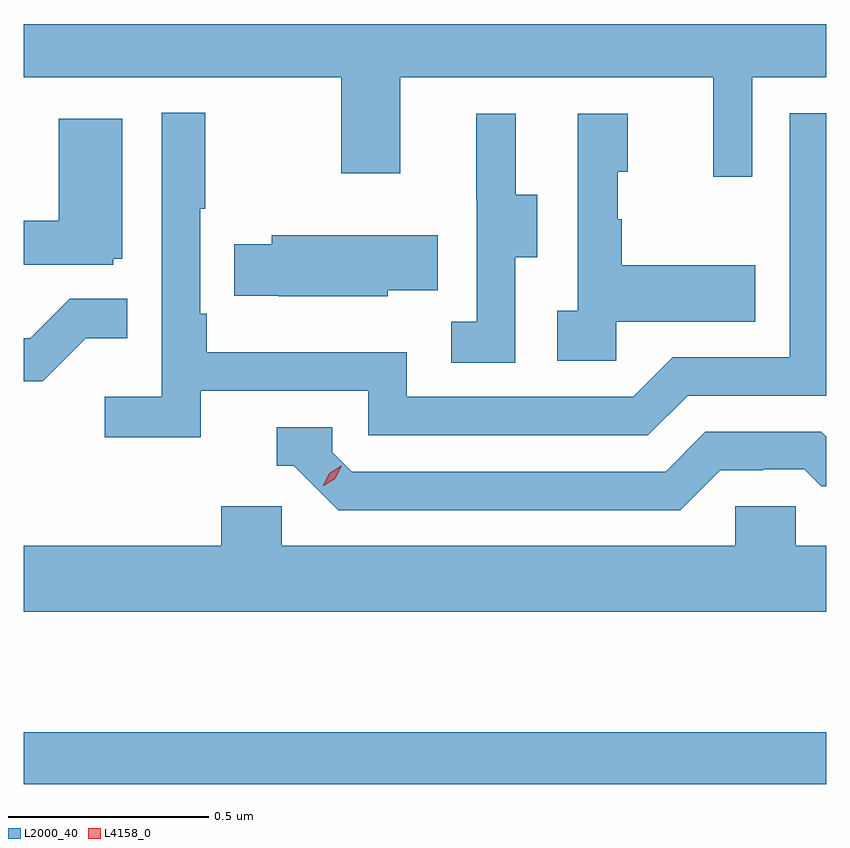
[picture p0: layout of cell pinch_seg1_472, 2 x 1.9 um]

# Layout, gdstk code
import gdstk
lib = gdstk.Library(unit=1e-6, precision=1e-09)
def R(c, l, rs):  # rectangles x0, y0, x1, y1
    for r in rs: c.add(gdstk.rectangle(r[:2], r[2:], *l))
def P(c, l, *ps):  # polygons
    for p in ps: c.add(gdstk.Polygon(p, *l))
L2000_40 = (2000, 40)
L4158_0 = (4158, 0)

pinch_seg1_472 = lib.new_cell('pinch_seg1_472')
R(pinch_seg1_472, L2000_40, [(1008.635,508.678,1010.635,508.807)])
P(pinch_seg1_472, L2000_40, [(1008.635,510.44),(1009.426,510.44),(1009.426,510.201),(1009.573,510.201),(1009.573,510.44),(1010.354,510.44),(1010.354,510.192),(1010.451,510.192),(1010.451,510.44),(1010.635,510.44),(1010.635,510.573),(1008.635,510.573)],
  [(1009.076,509.658),(1009.494,509.658),(1009.494,509.547),(1010.191,509.547),(1010.29,509.646),(1010.635,509.646),(1010.635,510.351),(1010.544,510.351),(1010.544,509.742),(1010.253,509.742),(1010.154,509.643),(1009.59,509.643),(1009.59,509.755),(1009.091,509.755),(1009.091,509.851),(1009.074,509.851),(1009.074,510.112),(1009.087,510.112),(1009.087,510.352),(1008.978,510.352),(1008.978,509.644),(1008.837,509.644),(1008.837,509.542),(1009.076,509.542)],
  [(1009.86,509.992),(1009.915,509.992),(1009.915,510.147),(1009.861,510.147),(1009.861,510.349),(1009.763,510.349),(1009.763,510.135),(1009.764,510.135),(1009.764,509.831),(1009.701,509.831),(1009.701,509.728),(1009.86,509.728)],
  [(1010.112,509.831),(1010.459,509.831),(1010.459,509.971),(1010.125,509.971),(1010.125,510.086),(1010.115,510.086),(1010.115,510.204),(1010.14,510.204),(1010.14,510.349),(1010.016,510.349),(1010.016,509.858),(1009.965,509.858),(1009.965,509.733),(1010.112,509.733)],
  [(1008.858,509.988),(1008.88,509.988),(1008.88,510.337),(1008.722,510.337),(1008.722,510.082),(1008.635,510.082),(1008.635,509.973),(1008.858,509.973)],
  [(1009.542,509.909),(1009.667,509.909),(1009.667,510.046),(1009.253,510.046),(1009.253,510.024),(1009.159,510.024),(1009.159,509.895),(1009.27,509.895),(1009.27,509.894),(1009.542,509.894)],
  [(1008.789,509.789),(1008.893,509.789),(1008.893,509.888),(1008.749,509.888),(1008.651,509.79),(1008.635,509.79),(1008.635,509.682),(1008.682,509.682)],
  [(1010.371,509.46),(1010.478,509.46),(1010.478,509.463),(1010.581,509.463),(1010.623,509.421),(1010.635,509.421),(1010.635,509.544),(1010.623,509.556),(1010.334,509.556),(1010.235,509.457),(1009.452,509.457),(1009.404,509.505),(1009.404,509.568),(1009.265,509.568),(1009.265,509.472),(1009.308,509.472),(1009.419,509.361),(1010.272,509.361)],
  [(1010.635,509.272),(1010.559,509.272),(1010.559,509.37),(1010.409,509.37),(1010.409,509.272),(1009.278,509.272),(1009.278,509.37),(1009.127,509.37),(1009.127,509.272),(1008.635,509.272),(1008.635,509.108),(1010.635,509.108)])
P(pinch_seg1_472, L4158_0, [(1009.38,509.42),(1009.38,509.42),(1009.396,509.453),(1009.426,509.472),(1009.427,509.472),(1009.427,509.472),(1009.411,509.439),(1009.38,509.42)])

lib.write_gds('pinch_seg1_472.gds')
